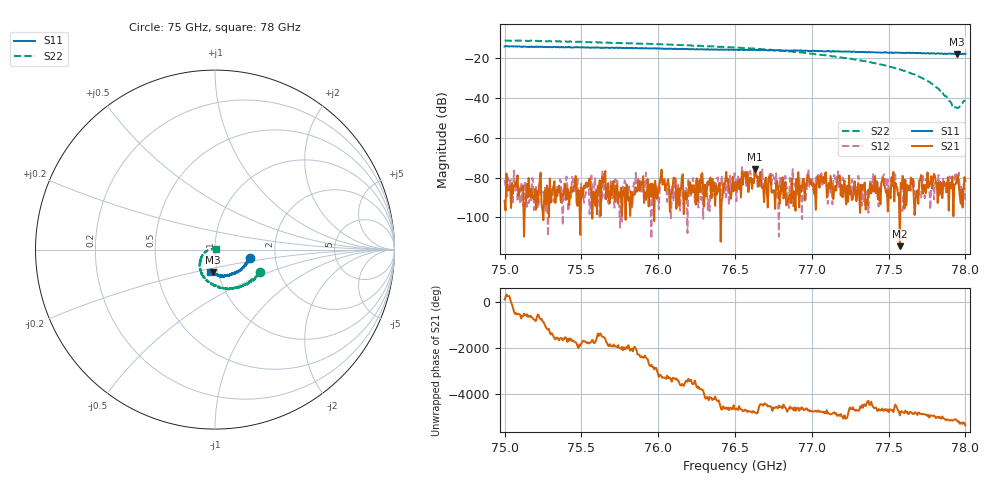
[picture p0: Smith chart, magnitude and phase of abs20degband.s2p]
# Hz S MA R 50
! CMT, C4420, 21421029, 25.1.2/3
! Date: 8/7/2025 5:43:48 PM
! Data: Format (Calibration Info)
! Freq	S33:Mag/Ang(F2)	S43:Mag/Ang(F2)	S34:Mag/Ang(F2)	S44:Mag/Ang(F2)
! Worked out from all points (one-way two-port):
!   500 points, 75 GHz to 78 GHz, reference 50 ohm
!   highest |S21| = -75.70 dB at 76.629 GHz (marker M1); lowest = -114.5 dB at 77.573 GHz (marker M2)
!   lowest |S11| = -18.0 dB at 77.946 GHz (marker M3), VSWR 1.29, Z = 47.3 - j12 ohm
!   |S11| at or under -10 dB: start of sweep to end of sweep
!   |S22| runs from -45.0 to -11.0 dB; largest |S21 - S12| = 0.00016
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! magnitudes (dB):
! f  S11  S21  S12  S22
! 75 GHz  -14.0  -91.7  -81.1  -11.1
! 75.505 GHz  -14.5  -90.0  -84.1  -11.7
! 75.619 GHz  -14.7  -81.4  -100.8  -12.0
! 75.631 GHz  -14.6  -82.5  -92.0  -12.1
! 75.661 GHz  -14.6  -90.9  -87.4  -12.2
! 76.004 GHz  -15.1  -84.9  -96.2  -12.8
! 76.503 GHz  -15.7  -82.5  -80.1  -14.6
! 76.527 GHz  -15.8  -85.9  -83.0  -14.6
! 76.557 GHz  -15.9  -78.1  -78.1  -14.9
! 76.599 GHz  -15.7  -80.2  -76.7  -15.0
! 76.629 GHz  -15.7  -75.7  -75.0  -15.2
! 76.653 GHz  -15.8  -84.5  -80.9  -15.3
! 76.731 GHz  -16.0  -78.8  -77.0  -15.7
! 77.002 GHz  -16.3  -84.1  -79.6  -17.7
! 77.08 GHz  -16.5  -82.9  -80.2  -18.4
! 77.501 GHz  -17.3  -86.4  -88.0  -24.0
! 77.573 GHz  -17.3  -114.5  -97.2  -25.6
! 77.778 GHz  -17.4  -79.4  -84.1  -32.7
! 77.838 GHz  -17.6  -82.3  -85.1  -36.4
! 77.922 GHz  -17.8  -99.5  -83.6  -45.0
! 77.946 GHz  -18.0  -80.0  -78.3  -45.0
! 78 GHz  -17.8  -81.8  -93.3  -41.2
